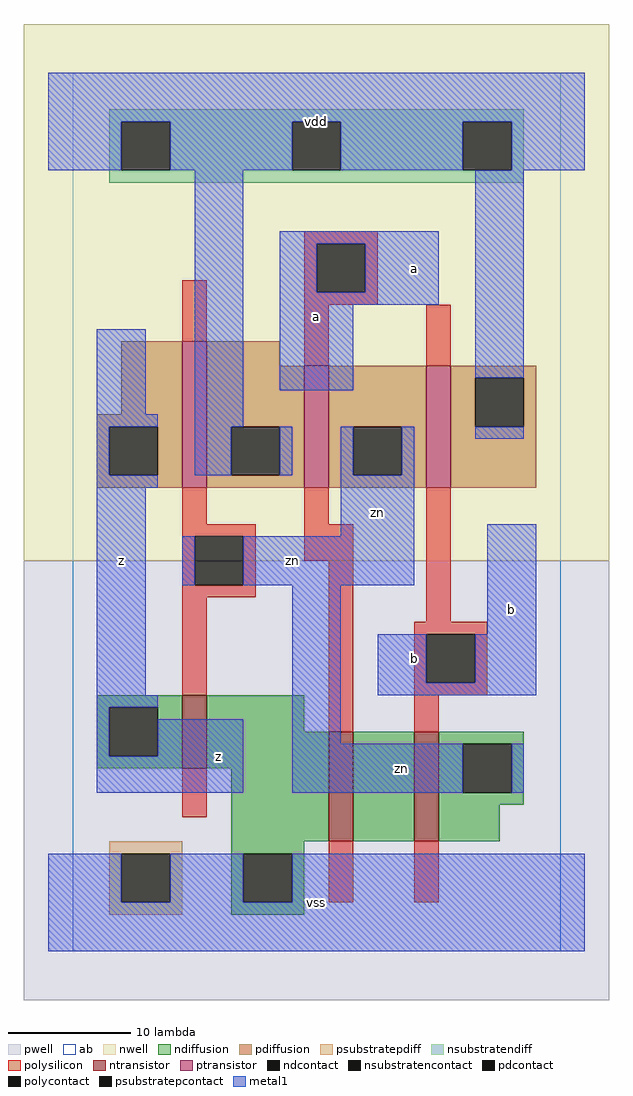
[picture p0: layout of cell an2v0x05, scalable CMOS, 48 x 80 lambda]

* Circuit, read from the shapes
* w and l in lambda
.subckt an2v0x05 a b vdd vss z zn
M1 vss zn z vss nfet w=6 l=2
M2 n1 a vss vss nfet w=9 l=2
M3 zn b n1 vss nfet w=9 l=2
M4 vdd zn z vdd pfet w=12 l=2
M5 zn a vdd vdd pfet w=10 l=2
M6 vdd b zn vdd pfet w=10 l=2
.ends

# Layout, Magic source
magic
tech scmos
<< ab >>
rect 0 0 40 72
<< pwell >>
rect -4 -4 44 32
<< nwell >>
rect -4 32 44 76
<< polysilicon >>
rect 19 58 25 59
rect 9 50 11 55
rect 19 54 20 58
rect 24 54 25 58
rect 19 53 25 54
rect 19 48 21 53
rect 29 48 31 53
rect 9 35 11 38
rect 19 35 21 38
rect 9 34 15 35
rect 9 30 10 34
rect 14 30 15 34
rect 19 32 23 35
rect 9 29 15 30
rect 9 21 11 29
rect 21 18 23 32
rect 29 27 31 38
rect 28 26 34 27
rect 28 22 29 26
rect 33 22 34 26
rect 28 21 34 22
rect 28 18 30 21
rect 9 11 11 15
rect 21 4 23 9
rect 28 4 30 9
<< ndiffusion >>
rect 2 20 9 21
rect 2 16 3 20
rect 7 16 9 20
rect 2 15 9 16
rect 11 18 19 21
rect 11 15 21 18
rect 13 9 21 15
rect 23 9 28 18
rect 30 17 37 18
rect 30 13 32 17
rect 36 13 37 17
rect 30 12 37 13
rect 30 9 35 12
rect 13 8 19 9
rect 13 4 14 8
rect 18 4 19 8
rect 13 3 19 4
<< pdiffusion >>
rect 4 44 9 50
rect 2 43 9 44
rect 2 39 3 43
rect 7 39 9 43
rect 2 38 9 39
rect 11 48 17 50
rect 11 43 19 48
rect 11 39 13 43
rect 17 39 19 43
rect 11 38 19 39
rect 21 43 29 48
rect 21 39 23 43
rect 27 39 29 43
rect 21 38 29 39
rect 31 47 38 48
rect 31 43 33 47
rect 37 43 38 47
rect 31 38 38 43
<< metal1 >>
rect -2 68 42 72
rect -2 64 4 68
rect 8 64 18 68
rect 22 64 32 68
rect 36 64 42 68
rect 2 44 6 51
rect 2 43 7 44
rect 2 39 3 43
rect 10 43 14 64
rect 17 58 30 59
rect 17 54 20 58
rect 24 54 30 58
rect 17 53 30 54
rect 17 46 23 53
rect 33 47 37 64
rect 10 39 13 43
rect 17 39 18 43
rect 22 39 23 43
rect 27 39 28 43
rect 33 42 37 43
rect 2 38 7 39
rect 2 21 6 38
rect 22 34 28 39
rect 9 30 10 34
rect 14 30 28 34
rect 2 20 7 21
rect 2 16 3 20
rect 7 16 14 19
rect 2 13 14 16
rect 18 17 22 30
rect 34 26 38 35
rect 25 22 29 26
rect 33 22 38 26
rect 25 21 38 22
rect 18 13 32 17
rect 36 13 37 17
rect -2 4 4 8
rect 8 4 14 8
rect 18 4 42 8
rect -2 0 42 4
<< ntransistor >>
rect 9 15 11 21
rect 21 9 23 18
rect 28 9 30 18
<< ptransistor >>
rect 9 38 11 50
rect 19 38 21 48
rect 29 38 31 48
<< polycontact >>
rect 20 54 24 58
rect 10 30 14 34
rect 29 22 33 26
<< ndcontact >>
rect 3 16 7 20
rect 32 13 36 17
rect 14 4 18 8
<< pdcontact >>
rect 3 39 7 43
rect 13 39 17 43
rect 23 39 27 43
rect 33 43 37 47
<< psubstratepcontact >>
rect 4 4 8 8
<< nsubstratencontact >>
rect 4 64 8 68
rect 18 64 22 68
rect 32 64 36 68
<< psubstratepdiff >>
rect 3 8 9 9
rect 3 4 4 8
rect 8 4 9 8
rect 3 3 9 4
<< nsubstratendiff >>
rect 3 68 37 69
rect 3 64 4 68
rect 8 64 18 68
rect 22 64 32 68
rect 36 64 37 68
rect 3 63 37 64
<< labels >>
rlabel metal1 4 32 4 32 6 z
rlabel metal1 12 16 12 16 6 z
rlabel metal1 20 4 20 4 6 vss
rlabel metal1 18 32 18 32 6 zn
rlabel metal1 28 24 28 24 6 b
rlabel metal1 25 36 25 36 6 zn
rlabel metal1 20 52 20 52 6 a
rlabel metal1 28 56 28 56 6 a
rlabel metal1 20 68 20 68 6 vdd
rlabel metal1 27 15 27 15 6 zn
rlabel metal1 36 28 36 28 6 b
<< end >>
